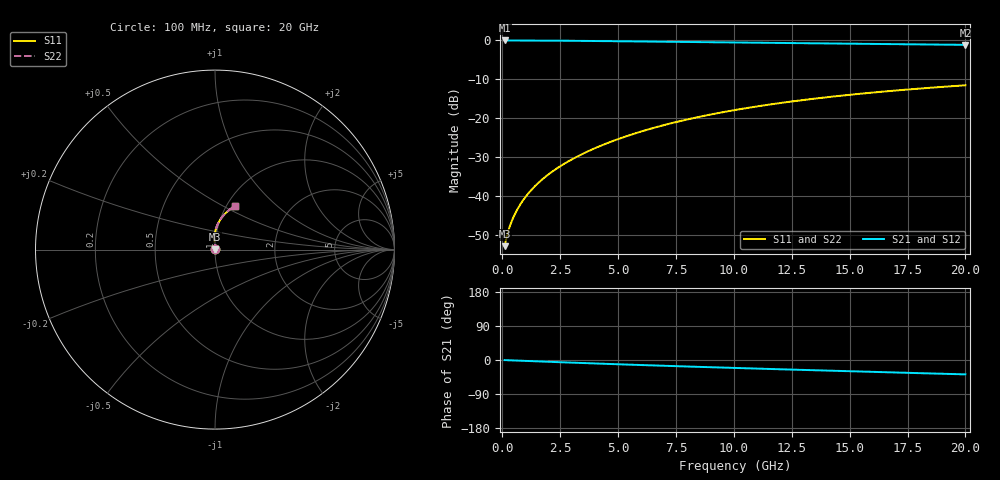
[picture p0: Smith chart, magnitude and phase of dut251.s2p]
! Touchstone file exported from HFSS 2024.1.0
!  File:  C:/UserFiles/LocalFiles/RDL_TSV_Batchsim/temp_RDL_bottom_251_1778701724.aedt
!  Generated:  03:50:46 AM May 14, 2026
!  Design:  RDL_bottom
!  Project:  temp_RDL_bottom_251_1778701724
!  Setup:  Setup1
!  Solution:  Sweep
! Variables:
!  dtsv = 10.80580581um
!  hbump = 3um
!  htsv = 68.86um
!  ldown = 599.38um
!  lrdl = 100um
!  p = 40
!  p1 = 47.14um
!  rhole = 1um
!  t = 450um
!  tdown = 4.48um
!  trdl = 3.915915916um
!  wdown = 28.13um
!  wrdl = 20um
# GHz S MA R 50.000000
! Terminal data exported
! Port[1] = RDL1_T1
! Port[2] = RDL1_T2
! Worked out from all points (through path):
!   200 points, 100 MHz to 20 GHz, reference 50 ohm
!   highest |S21| = -0.02 dB at 100 MHz (marker M1); lowest = -1.1 dB at 20 GHz (marker M2)
!   group delay of S21, straight-line fit = 5.18 ps
!   lowest |S11| = -52.9 dB at 100 MHz (marker M3), VSWR 1.00, Z = 50.2 + j0.117 ohm
!   |S11| at or under -10 dB: start of sweep to end of sweep
!   |S22| runs from -52.9 to -11.5 dB; largest |S21 - S12| = 6e-15
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0.1  0.002254 31.3  0.9981 -0.3  0.9981 -0.3  0.002254 31.3
! Gamma 0 0 0 0
! Port Impedance 50 0 50 0
0.2  0.003053 46.6  0.9978 -0.5  0.9978 -0.5  0.003053 46.6
0.3  0.003876 54.6  0.9976 -0.7  0.9976 -0.7  0.003876 54.6
0.4  0.004678 60.0  0.9974 -1.0  0.9974 -1.0  0.004678 60.0
0.5  0.005475 64.2  0.9972 -1.2  0.9972 -1.2  0.005476 64.2
0.8  0.007939 72.8  0.9967 -1.9  0.9967 -1.9  0.007939 72.8
1  0.009656 76.6  0.9963 -2.4  0.9963 -2.4  0.009656 76.6
1.2  0.01143 79.5  0.9958 -2.9  0.9958 -2.9  0.01143 79.5
1.7  0.01605 84.4  0.9942 -4.0  0.9942 -4.0  0.01605 84.4
2.2  0.02096 87.5  0.9922 -5.2  0.9922 -5.2  0.02096 87.5
2.8  0.02723 90.0  0.9893 -6.5  0.9893 -6.5  0.02723 90.0
3.5  0.03508 91.7  0.9852 -8.1  0.9852 -8.1  0.03507 91.7
4.2  0.04348 92.6  0.9807 -9.6  0.9807 -9.6  0.04348 92.6
5  0.05373 92.9  0.9752 -11.3  0.9752 -11.3  0.05372 92.9
5.9  0.06594 92.5  0.9687 -13.1  0.9687 -13.1  0.06593 92.6
6.8  0.07872 91.6  0.9621 -14.9  0.9621 -14.9  0.0787 91.6
8.4  0.1023 89.2  0.9505 -18.0  0.9505 -18.0  0.1023 89.2
10.1  0.1279 85.9  0.9385 -21.1  0.9385 -21.1  0.1279 85.9
11.7  0.1519 82.5  0.9277 -23.9  0.9277 -23.9  0.1519 82.6
13.4  0.1769 78.9  0.9166 -26.9  0.9166 -26.9  0.1769 78.9
16.7  0.2228 72.0  0.896 -32.5  0.896 -32.5  0.2228 72.1
20  0.2646 65.5  0.8762 -37.9  0.8762 -37.9  0.2646 65.5
